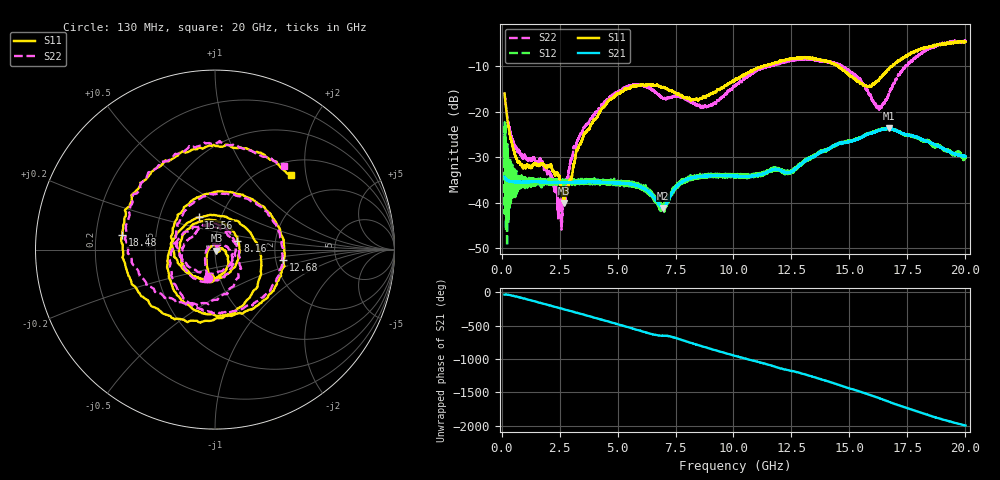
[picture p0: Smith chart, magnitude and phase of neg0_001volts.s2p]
!Created with skrf (http://scikit-rf.org).
# GHz S RI R 50.0
!freq ReS11 ImS11 ReS21 ImS21 ReS12 ImS12 ReS22 ImS22
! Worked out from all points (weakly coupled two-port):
!   20013 points, 130 MHz to 20 GHz, reference 50 ohm
!   highest |S21| = -23.61 dB at 16.69 GHz (marker M1); lowest = -41.1 dB at 6.947 GHz (marker M2)
!   lowest |S11| = -40.1 dB at 2.691 GHz (marker M3), VSWR 1.02, Z = 50.8 - j0.591 ohm
!   |S11| at or under -10 dB: start of sweep to 11.27 GHz; 14.52 GHz to 16.78 GHz (2.255 GHz wide, 14.4 % of centre); 16.80932 GHz to 16.83311 GHz (23.78 MHz wide, 0.141 % of centre)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
!   |S22| runs from -45.9 to -4.3 dB; largest |S21 - S12| = 0.095
!   S11 on the Smith chart (normalised r, x): 130 MHz: 0.90, -0.29; 8.16 GHz: 1.28, +0.13; 12.68 GHz: 2.21, -0.29; 15.56 GHz: 0.78, +0.29; 18.48 GHz: 0.32, +0.07; 20 GHz: 1.32, +1.66
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0.13  -0.0285 -0.1567  0.0156 -0.0115  -0.0312 -0.0273  -0.0393 -0.1585
0.696  -0.0241 0.0151  0.00566 -0.0159  0.00529 -0.0176  -0.0307 0.0201
2.085  0.0235 -0.0104  -0.0158 0.00534  -0.0158 0.00527  0.0208 -0.000451
2.518  0.0151 -0.00963  -0.00864 0.0145  -0.00887 0.0149  0.0105 0.000923
2.691  0.00803 -0.00581  -0.00426 0.0162  -0.00457 0.0165  0.00518 0.0109
3.442  0.0468 0.000529  0.0141 0.00936  0.0148 0.00917  0.0529 0.0226
5.312  -0.0541 -0.1712  -0.014 -0.00831  -0.014 -0.00838  -0.0354 -0.1816
6.754  -0.1716 0.0907  0.00293 0.00949  0.0029 0.00957  -0.1427 0.0623
6.947  -0.1324 0.1311  0.0032 0.00815  0.00325 0.00816  -0.1229 0.0725
8.16  0.1244 0.049  0.0148 -0.0115  0.015 -0.0113  0.0722 0.1069
10.065  -0.2219 -0.0445  -0.012 0.0157  -0.0127 0.0162  -0.1883 -0.0434
11.418  0.0399 0.3226  0.0215 0.0011  0.022 0.000865  0.0133 0.3114
12.68  0.3814 -0.0564  -0.00898 -0.022  -0.00896 -0.0226  0.3735 0.0399
13.377  0.2169 -0.3265  -0.0316 0.000945  -0.031 0.000814  0.2917 -0.2387
14.589  -0.2455 -0.1805  0.0314 0.0325  0.0324 0.0319  -0.1575 -0.2873
15.563  -0.0914 0.179  0.0264 -0.0462  0.0264 -0.0465  -0.1917 0.0709
16.235  0.2057 0.0782  -0.048 -0.0392  -0.0486 -0.0398  0.0651 0.0947
16.689  0.2499 -0.1593  -0.0625 0.0213  -0.0619 0.0215  0.1381 -0.0633
17.611  -0.1928 -0.3853  0.0356 0.0416  0.0354 0.0421  -0.1871 -0.2913
18.485  -0.5154 0.0829  0.0299 -0.0352  0.0311 -0.0333  -0.4922 0.08
19.277  -0.1411 0.5451  -0.0244 -0.0277  -0.0241 -0.0294  -0.1709 0.5487
20  0.4298 0.4081  -0.0311 0.00872  -0.0304 0.00846  0.3873 0.4681
